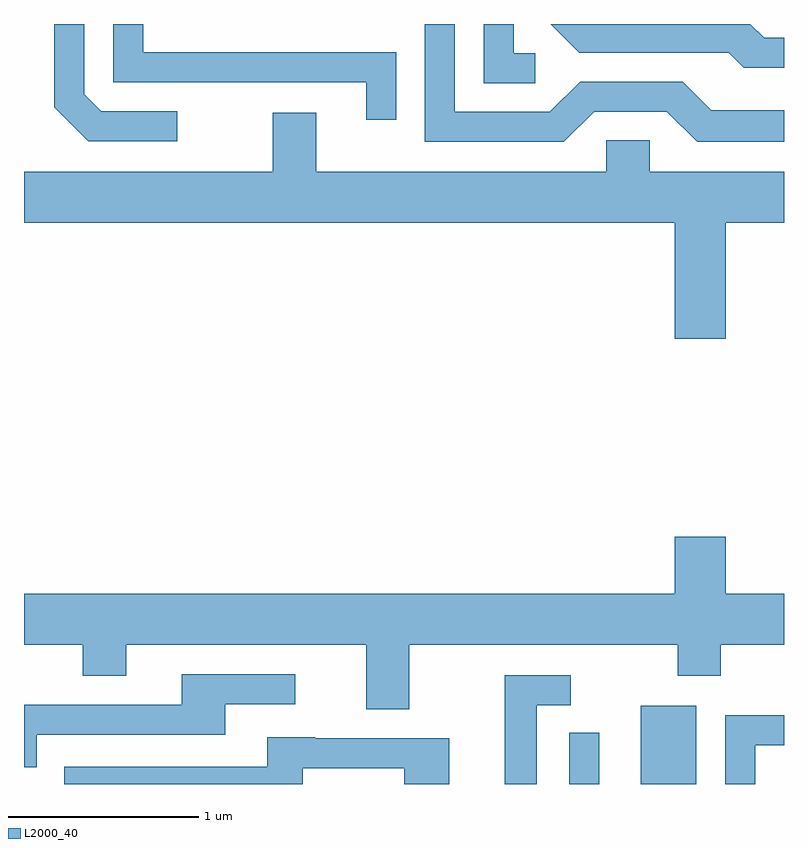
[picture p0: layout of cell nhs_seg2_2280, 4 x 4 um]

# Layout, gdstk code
import gdstk
lib = gdstk.Library(unit=1e-6, precision=1e-09)
def R(c, l, rs):  # rectangles x0, y0, x1, y1
    for r in rs: c.add(gdstk.rectangle(r[:2], r[2:], *l))
def P(c, l, *ps):  # polygons
    for p in ps: c.add(gdstk.Polygon(p, *l))
L2000_40 = (2000, 40)

nhs_seg2_2280 = lib.new_cell('nhs_seg2_2280')
R(nhs_seg2_2280, L2000_40, [(254.481,1049.802,254.639,1050.073), (254.856,1049.802,255.149,1050.214)])
P(nhs_seg2_2280, L2000_40, [(252.418,1053.344),(252.017,1053.344),(251.929,1053.432),(251.929,1053.802),(251.771,1053.802),(251.771,1053.364),(251.949,1053.186),(252.418,1053.186)],
  [(255.611,1053.729),(255.507,1053.729),(255.434,1053.802),(254.383,1053.802),(254.534,1053.651),(255.319,1053.651),(255.399,1053.571),(255.611,1053.571)],
  [(254.612,1053.341),(254.994,1053.341),(255.154,1053.181),(255.611,1053.181),(255.611,1053.349),(255.227,1053.349),(255.077,1053.499),(254.539,1053.499),(254.379,1053.339),(253.879,1053.339),(253.879,1053.802),(253.721,1053.802),(253.721,1053.181),(254.452,1053.181)],
  [(253.569,1053.654),(252.239,1053.654),(252.239,1053.802),(252.081,1053.802),(252.081,1053.496),(253.411,1053.496),(253.411,1053.298),(253.569,1053.298)],
  [(254.303,1053.649),(254.189,1053.649),(254.189,1053.802),(254.031,1053.802),(254.031,1053.491),(254.303,1053.491)],
  [(255.304,1052.756),(255.611,1052.756),(255.611,1053.024),(254.904,1053.024),(254.904,1053.189),(254.676,1053.189),(254.676,1053.024),(253.149,1053.024),(253.149,1053.334),(252.921,1053.334),(252.921,1053.024),(251.611,1053.024),(251.611,1052.756),(255.036,1052.756),(255.036,1052.146),(255.304,1052.146)],
  [(253.639,1050.536),(255.051,1050.536),(255.051,1050.371),(255.279,1050.371),(255.279,1050.536),(255.611,1050.536),(255.611,1050.804),(255.304,1050.804),(255.304,1051.104),(255.036,1051.104),(255.036,1050.804),(251.611,1050.804),(251.611,1050.536),(251.921,1050.536),(251.921,1050.371),(252.149,1050.371),(252.149,1050.536),(253.411,1050.536),(253.411,1050.196),(253.639,1050.196)],
  [(251.679,1050.061),(252.669,1050.061),(252.669,1050.221),(253.038,1050.221),(253.038,1050.379),(252.441,1050.379),(252.441,1050.219),(251.611,1050.219),(251.611,1049.891),(251.679,1049.891)],
  [(254.309,1050.216),(254.488,1050.216),(254.488,1050.374),(254.141,1050.374),(254.141,1049.802),(254.309,1049.802)],
  [(255.459,1050.006),(255.611,1050.006),(255.611,1050.164),(255.301,1050.164),(255.301,1049.802),(255.459,1049.802)],
  [(253.079,1049.886),(253.611,1049.886),(253.611,1049.802),(253.849,1049.802),(253.849,1050.044),(253.145,1050.044),(253.145,1050.049),(252.891,1050.049),(252.891,1049.894),(251.823,1049.894),(251.823,1049.802),(253.079,1049.802)])

lib.write_gds('nhs_seg2_2280.gds')
